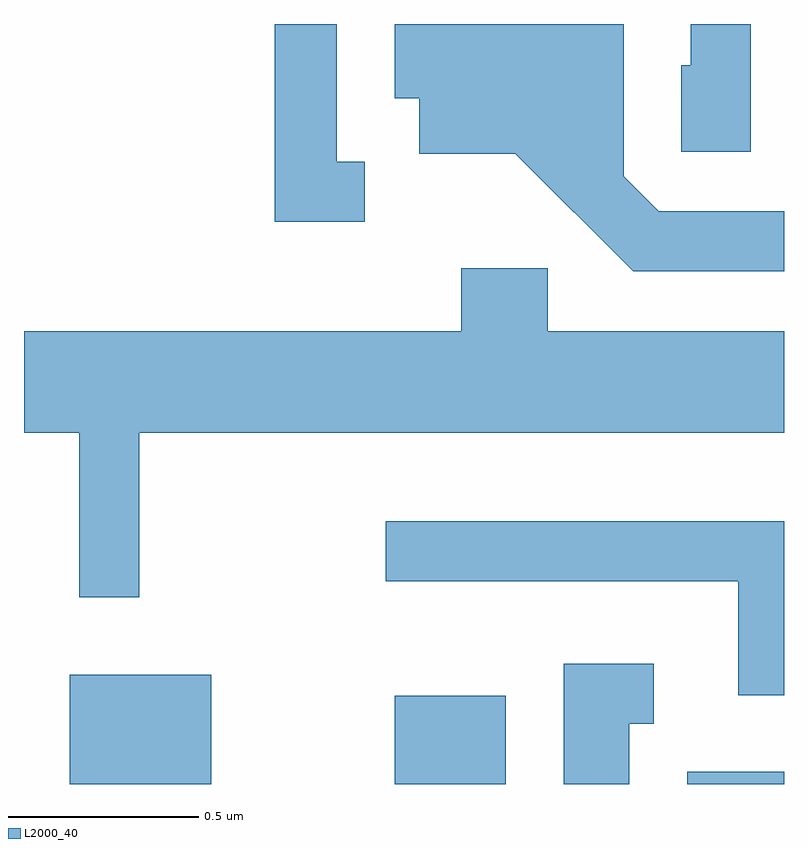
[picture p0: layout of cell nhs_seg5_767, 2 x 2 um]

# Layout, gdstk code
import gdstk
lib = gdstk.Library(unit=1e-6, precision=1e-09)
def R(c, l, rs):  # rectangles x0, y0, x1, y1
    for r in rs: c.add(gdstk.rectangle(r[:2], r[2:], *l))
def P(c, l, *ps):  # polygons
    for p in ps: c.add(gdstk.Polygon(p, *l))
L2000_40 = (2000, 40)

nhs_seg5_767 = lib.new_cell('nhs_seg5_767')
R(nhs_seg5_767, L2000_40, [(190.731,1478.072,191.104,1478.359), (191.586,1478.072,191.879,1478.304), (192.356,1478.072,192.611,1478.104)])
P(nhs_seg5_767, L2000_40, [(192.524,1480.072),(192.366,1480.072),(192.366,1479.964),(192.341,1479.964),(192.341,1479.736),(192.524,1479.736)],
  [(191.508,1479.709),(191.434,1479.709),(191.434,1480.072),(191.271,1480.072),(191.271,1479.551),(191.508,1479.551)],
  [(192.611,1479.579),(192.282,1479.579),(192.189,1479.672),(192.189,1480.072),(191.586,1480.072),(191.586,1479.876),(191.651,1479.876),(191.651,1479.731),(191.904,1479.731),(192.214,1479.421),(192.611,1479.421)],
  [(190.914,1478.996),(192.611,1478.996),(192.611,1479.264),(191.989,1479.264),(191.989,1479.429),(191.761,1479.429),(191.761,1479.264),(190.611,1479.264),(190.611,1478.996),(190.756,1478.996),(190.756,1478.563),(190.914,1478.563)],
  [(192.611,1478.764),(191.563,1478.764),(191.563,1478.606),(192.491,1478.606),(192.491,1478.306),(192.611,1478.306)],
  [(192.204,1478.231),(192.268,1478.231),(192.268,1478.389),(192.031,1478.389),(192.031,1478.072),(192.204,1478.072)])

lib.write_gds('nhs_seg5_767.gds')
